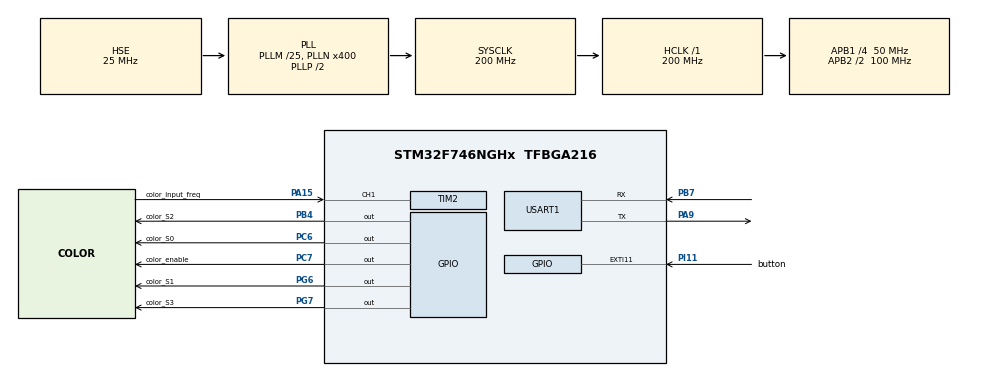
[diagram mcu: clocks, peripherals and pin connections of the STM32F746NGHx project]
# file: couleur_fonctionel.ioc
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FREERTOS.Tasks01=defaultTask,0,128,StartDefaultTask,Default,NULL,Dynamic,NULL,NULL
FREERTOS.configUSE_NEWLIB_REENTRANT=1
Mcu.Family=STM32F7
Mcu.Name=STM32F746NGHx
Mcu.Package=TFBGA216
NVIC.EXTI15_10_IRQn=true\:5\:0\:false\:false\:true\:true\:true\:true\:true
NVIC.PriorityGroup=NVIC_PRIORITYGROUP_4
NVIC.TIM2_IRQn=true\:5\:0\:false\:false\:true\:true\:true\:true\:true
NVIC.TIM6_DAC_IRQn=true\:15\:0\:false\:false\:true\:false\:false\:true\:true
NVIC.TimeBase=TIM6_DAC_IRQn
NVIC.TimeBaseIP=TIM6
PA13.Mode=Serial_Wire
PA13.Signal=SYS_JTMS-SWDIO
PA14.Mode=Serial_Wire
PA14.Signal=SYS_JTCK-SWCLK
PA15.GPIO_Label=color_input_freq
PA15.GPIO_PuPd=GPIO_PULLUP
PA15.GPIO_Speed=GPIO_SPEED_FREQ_HIGH
PA15.Signal=S_TIM2_CH1_ETR
PA9.Mode=Asynchronous
PA9.Signal=USART1_TX
PB4.GPIO_Label=color_S2
PB4.Signal=GPIO_Output
PB7.Mode=Asynchronous
PB7.Signal=USART1_RX
PC6.GPIO_Label=color_S0
PC6.Signal=GPIO_Output
PC7.GPIO_Label=color_enable
PC7.Signal=GPIO_Output
PG6.GPIO_Label=color_S1
PG6.Signal=GPIO_Output
PG7.GPIO_Label=color_S3
PG7.Signal=GPIO_Output
PH0/OSC_IN.Mode=HSE-External-Oscillator
PH0/OSC_IN.Signal=RCC_OSC_IN
PH1/OSC_OUT.Mode=HSE-External-Oscillator
PH1/OSC_OUT.Signal=RCC_OSC_OUT
PI11.GPIO_Label=button
PI11.Signal=GPXTI11
ProjectManager.HeapSize=0x200
ProjectManager.StackSize=0x400
ProjectManager.TargetToolchain=STM32CubeIDE
RCC.AHBFreq_Value=200000000
RCC.APB1CLKDivider=RCC_HCLK_DIV4
RCC.APB1Freq_Value=50000000
RCC.APB1TimFreq_Value=100000000
RCC.APB2CLKDivider=RCC_HCLK_DIV2
RCC.APB2Freq_Value=100000000
RCC.APB2TimFreq_Value=200000000
RCC.CortexFreq_Value=200000000
RCC.HCLKFreq_Value=200000000
RCC.HSE_VALUE=25000000
RCC.HSI_VALUE=16000000
RCC.LSE_VALUE=32768
RCC.PLL48CLockSelection=RCC_CLK48SOURCE_PLLSAIP
RCC.PLLI2SN=100
RCC.PLLM=25
RCC.PLLN=400
RCC.PLLQ=9
RCC.PLLSAIN=384
RCC.PLLSAIP=RCC_PLLSAIP_DIV8
RCC.PLLSAIR=5
RCC.PLLSAIRDiv=RCC_PLLSAIDIVR_8
RCC.PLLSourceVirtual=RCC_PLLSOURCE_HSE
RCC.SDMMCClockSelection=RCC_SDMMC1CLKSOURCE_CLK48
RCC.SYSCLKFreq_VALUE=200000000
RCC.SYSCLKSource=RCC_SYSCLKSOURCE_PLLCLK
RCC.USBFreq_Value=48000000
RCC.VCOOutputFreq_Value=400000000
SH.S_TIM2_CH1_ETR.0=TIM2_CH1,Input_Capture1_from_TI1
TIM2.AutoReloadPreload=TIM_AUTORELOAD_PRELOAD_DISABLE
TIM2.Channel-Input_Capture1_from_TI1=TIM_CHANNEL_1
TIM2.ICPolarity_CH1=TIM_INPUTCHANNELPOLARITY_RISING
TIM2.Period=1000000
TIM2.Prescaler=100-1
USART1.VirtualMode-Asynchronous=VM_ASYNC
VP_FREERTOS_VS_CMSIS_V1.Mode=CMSIS_V1
VP_SYS_VS_tim6.Mode=TIM6
VP_TIM2_VS_ClockSourceINT.Mode=Internal
board=STM32F746G-DISCO

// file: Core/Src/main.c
/* USER CODE BEGIN Header */
/**
 ******************************************************************************
 * @file           : main.c
 * @brief          Main program body
 ******************************************************************************
 * @attention
 *
 * Copyright (c) 2022 STMicroelectronics.
 * All rights reserved.
 *
 * This software is licensed under terms that can be found in the LICENSE file
 * in the root directory of this software component.
 * If no LICENSE file comes with this software, it is provided AS-IS.
 *
 ******************************************************************************
 */
/* USER CODE END Header */
#include "main.h"
#include "cmsis_os.h"
#include "tim.h"
#include "usart.h"
#include "gpio.h"

/* USER CODE BEGIN Includes */
#include "color_sensor.h"
#include <stdio.h>
#include <stdlib.h>
/* USER CODE END Includes */

/* USER CODE BEGIN PV */
h_color_sensor_t color_sensor1;
h_green_transformation_t color_sensor1_green_transformation;
h_red_transformation_t color_sensor1_transformation;

SemaphoreHandle_t colorCalibSemaphore;
SemaphoreHandle_t colorMeasureSemaphore;

TaskHandle_t h_colorCalibTask;
TaskHandle_t h_colorMeasureTask;
/* USER CODE END PV */

void SystemClock_Config(void);
void MX_FREERTOS_Init(void);

/* USER CODE BEGIN 0 */

void HAL_GPIO_EXTI_Callback(uint16_t GPIO_Pin){
	if(GPIO_Pin==button_Pin){

		printf("----- appui bouton -----\r\n");
		colorSetPhotodiodeType(&color_sensor1, GREEN);
		colorEnable(&color_sensor1);

		/*BaseType_t higher_priority_task_woken = pdFALSE;
		colorSetPhotodiodeType(&color_sensor1, GREEN);
		printf("semaphore colormeasureSemaphore donné\r\n");
		xSemaphoreGiveFromISR(colorMeasureSemaphore,&higher_priority_task_woken);
		//colorEnable(&color_sensor1);*/
	}
}
/* USER CODE END 0 */

int main(void)
{

  /* MCU Configuration--------------------------------------------------------*/

  /* Reset of all peripherals, Initializes the Flash interface and the Systick. */
  HAL_Init();

  /* Configure the system clock */
  SystemClock_Config();

  /* Initialize all configured peripherals */
  MX_GPIO_Init();
  MX_TIM2_Init();
  MX_USART1_UART_Init();
  /* USER CODE BEGIN 2 */

  //desactive the internal buffering for scanf, that is set by default in syscalls.c
  setvbuf(stdin, NULL, _IONBF, 0);

	printf("---- color sensor ----\r\n");

	// vrai code
  	//color_disable(&color_sensor1);

	/*// ----- test 1 : verification des valeur renvoyées -----

	color_sensor_init(&color_sensor1,RED,CENT_POUR_CENT,SENSOR_DISABLE);
	color_enable(&color_sensor1);*/

	//Code de test

	/*printf("---------red---------\r\n");
  color_sensor_init(&color_sensor1,RED,CENT_POUR_CENT,SENSOR_ENABLE);
  color_enable(&color_sensor1);
  HAL_Delay(20);
  color_disable(&color_sensor1);*/

	/*// ----- test 2 : appui sur bouton pour declencher une mesure -----

  printf("---- color sensor ----\r\n");

  color_disable(&color_sensor1);

  color_sensor_init(&color_sensor1,GREEN,CENT_POUR_CENT,SENSOR_DISABLE);
  printf("color sensor initialized\r\nwaiting for button press : \r\n");*/

  	/*// ----- test 3 : Fonction de calibration -----
  	printf("--- calibration lancée ---\r\n");
  	colorSensorInit(&color_sensor1, GREEN,CENT_POUR_CENT,SENSOR_DISABLE);
  	colorHandleCalibrationSensor(&color_sensor1);
  	printf("waiting for button press to measure : \r\n");*/

	// ----- test 4 : FreeRTOS -----
	colorSensorInit(&color_sensor1, GREEN,CENT_POUR_CENT,SENSOR_DISABLE);
	colorHandleCalibrationSensor(&color_sensor1);
	//colorStartSensor(&color_sensor1);

	printf("scheduler started\r\n");
  	vTaskStartScheduler();
  /* USER CODE END 2 */

  /* Call init function for freertos objects (in freertos.c) */
  MX_FREERTOS_Init();

  /* Start scheduler */
  osKernelStart();

  /* We should never get here as control is now taken by the scheduler */
  /* Infinite loop */
	while (1)
	{

	}
}

void SystemClock_Config(void)
{
  RCC_OscInitTypeDef RCC_OscInitStruct = {0};
  RCC_ClkInitTypeDef RCC_ClkInitStruct = {0};

  /** Configure the main internal regulator output voltage
  */
  __HAL_RCC_PWR_CLK_ENABLE();
  __HAL_PWR_VOLTAGESCALING_CONFIG(PWR_REGULATOR_VOLTAGE_SCALE1);

  /** Initializes the RCC Oscillators according to the specified parameters
  * in the RCC_OscInitTypeDef structure.
  */
  RCC_OscInitStruct.OscillatorType = RCC_OSCILLATORTYPE_HSE;
  RCC_OscInitStruct.HSEState = RCC_HSE_ON;
  RCC_OscInitStruct.PLL.PLLState = RCC_PLL_ON;
  RCC_OscInitStruct.PLL.PLLSource = RCC_PLLSOURCE_HSE;
  RCC_OscInitStruct.PLL.PLLM = 25;
  RCC_OscInitStruct.PLL.PLLN = 400;
  RCC_OscInitStruct.PLL.PLLP = RCC_PLLP_DIV2;
  RCC_OscInitStruct.PLL.PLLQ = 9;
  if (HAL_RCC_OscConfig(&RCC_OscInitStruct) != HAL_OK)
  {
    Error_Handler();
  }

  /** Activate the Over-Drive mode
  */
  if (HAL_PWREx_EnableOverDrive() != HAL_OK)
  {
    Error_Handler();
  }

  /** Initializes the CPU, AHB and APB buses clocks
  */
  RCC_ClkInitStruct.ClockType = RCC_CLOCKTYPE_HCLK|RCC_CLOCKTYPE_SYSCLK
                              |RCC_CLOCKTYPE_PCLK1|RCC_CLOCKTYPE_PCLK2;
  RCC_ClkInitStruct.SYSCLKSource = RCC_SYSCLKSOURCE_PLLCLK;
  RCC_ClkInitStruct.AHBCLKDivider = RCC_SYSCLK_DIV1;
  RCC_ClkInitStruct.APB1CLKDivider = RCC_HCLK_DIV4;
  RCC_ClkInitStruct.APB2CLKDivider = RCC_HCLK_DIV2;

  if (HAL_RCC_ClockConfig(&RCC_ClkInitStruct, FLASH_LATENCY_6) != HAL_OK)
  {
    Error_Handler();
  }
}

/* USER CODE BEGIN 4 */

//--_ Redirection du printf
int __io_putchar(int ch){
	HAL_UART_Transmit(&huart1, (uint8_t *)&ch, 1, 0xFFFF);
	return ch;
}

// --- redirection du scanf
int __io_getchar(void){
  uint8_t ch = 0;

  /* Clear the Overrun flag just before receiving the first character */
  __HAL_UART_CLEAR_OREFLAG(&huart1);

  /* Wait for reception of a character on the USART RX line and echo this
   * character on console */
  HAL_UART_Receive(&huart1, (uint8_t *)&ch, 1, HAL_MAX_DELAY);
  HAL_UART_Transmit(&huart1, (uint8_t *)&ch, 1, HAL_MAX_DELAY);
  return ch;
}
/* USER CODE END 4 */

void HAL_TIM_PeriodElapsedCallback(TIM_HandleTypeDef *htim)
{
  if (htim->Instance == TIM6) {
    HAL_IncTick();
  }
}

void Error_Handler(void)
{
	__disable_irq();
	while (1)
	{
	}
}
